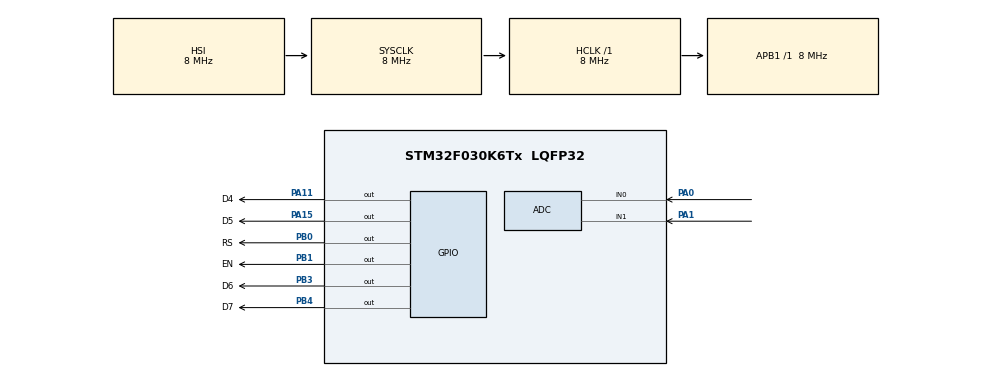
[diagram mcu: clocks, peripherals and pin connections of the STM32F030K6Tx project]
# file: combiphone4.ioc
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ADC.ContinuousConvMode=ENABLE
ADC.DMAContinuousRequests=DISABLE
ADC.EOCSelection=ADC_EOC_SINGLE_CONV
ADC.SamplingTime=ADC_SAMPLETIME_239CYCLES_5
Dma.ADC.0.Direction=DMA_PERIPH_TO_MEMORY
Dma.ADC.0.Instance=DMA1_Channel1
Dma.ADC.0.MemDataAlignment=DMA_MDATAALIGN_HALFWORD
Dma.ADC.0.MemInc=DMA_MINC_ENABLE
Dma.ADC.0.Mode=DMA_CIRCULAR
Dma.ADC.0.PeriphDataAlignment=DMA_PDATAALIGN_HALFWORD
Dma.ADC.0.PeriphInc=DMA_PINC_DISABLE
Dma.ADC.0.Priority=DMA_PRIORITY_HIGH
Dma.Request0=ADC
Mcu.Family=STM32F0
Mcu.Name=STM32F030K6Tx
Mcu.Package=LQFP32
NVIC.DMA1_Channel1_IRQn=true\:0\:0\:false\:false\:true\:false\:true\:true
PA0.Signal=SharedAnalog_PA0
PA1.Signal=SharedAnalog_PA1
PA11.GPIO_Label=D4
PA11.Signal=GPIO_Output
PA13.Mode=Serial_Wire
PA13.Signal=SYS_SWDIO
PA14.Mode=Serial_Wire
PA14.Signal=SYS_SWCLK
PA15.GPIO_Label=D5
PA15.Signal=GPIO_Output
PB0.GPIO_Label=RS
PB0.Signal=GPIO_Output
PB1.GPIO_Label=EN
PB1.Signal=GPIO_Output
PB3.GPIO_Label=D6
PB3.Signal=GPIO_Output
PB4.GPIO_Label=D7
PB4.Signal=GPIO_Output
PF0-OSC_IN.Mode=HSE-External-Oscillator
PF0-OSC_IN.Signal=RCC_OSC_IN
PF1-OSC_OUT.Mode=HSE-External-Oscillator
PF1-OSC_OUT.Signal=RCC_OSC_OUT
ProjectManager.HeapSize=0x200
ProjectManager.StackSize=0x400
ProjectManager.TargetToolchain=STM32CubeIDE
RCC.AHBFreq_Value=8000000
RCC.APB1Freq_Value=8000000
RCC.APB1TimFreq_Value=8000000
RCC.HCLKFreq_Value=8000000
RCC.SYSCLKFreq_VALUE=8000000
SH.SharedAnalog_PA0.0=GPIO_Analog
SH.SharedAnalog_PA0.1=ADC_IN0,IN0
SH.SharedAnalog_PA1.0=GPIO_Analog
SH.SharedAnalog_PA1.1=ADC_IN1,IN1
board=custom

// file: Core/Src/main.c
/* USER CODE BEGIN Header */
/**
 ******************************************************************************
 * @file           : main.c
 * @brief          : Main program body
 ******************************************************************************
 * @attention
 *
 * Copyright (c) 2025 STMicroelectronics.
 * All rights reserved.
 *
 * This software is licensed under terms that can be found in the LICENSE file
 * in the root directory of this software component.
 * If no LICENSE file comes with this software, it is provided AS-IS.
 *
 ******************************************************************************
 */
/* USER CODE END Header */
#include "main.h"

/* USER CODE BEGIN Includes */
#include <stdio.h>
#include <string.h>
/* USER CODE END Includes */

/* USER CODE BEGIN PD */
#define CHANNELS                2               // number of ADC channels scanned (PA0, PA1)
#define SAMPLES_PER_CHANNEL     32              // total samples per channel per full buffer (must be even)
#define ADC_MAX                 4095.0f         // 12-bit ADC
#define VREF                    3.3f

#define BUFFER_LENGTH           (CHANNELS * SAMPLES_PER_CHANNEL)  // DMA buffer length (half = BUFFER_LENGTH/2)
#if (SAMPLES_PER_CHANNEL % 2) != 0
#error "SAMPLES_PER_CHANNEL must be even for half-buffer processing"
#endif
/* USER CODE END PD */

ADC_HandleTypeDef hadc;
DMA_HandleTypeDef hdma_adc;

/* USER CODE BEGIN PV */

static uint16_t adc_buffer[BUFFER_LENGTH]; // DMA circular buffer (16-bit words)
volatile float adc_voltage[CHANNELS]; // latest computed voltages (after calibration)
volatile uint8_t adc_data_ready = 0;

volatile uint16_t adc_raw[2];

/* Simple linear calibration placeholders (per-channel) */
static float cal_gain[CHANNELS] = { 1.0f, 1.0f };   // multiply
static float cal_offset[CHANNELS] = { 0.0f, 0.0f };   // add (volts)

extern ADC_HandleTypeDef hadc;
extern DMA_HandleTypeDef hdma_adc;

/* USER CODE END PV */

void SystemClock_Config(void);
static void MX_GPIO_Init(void);
static void MX_DMA_Init(void);
static void MX_ADC_Init(void);
/* USER CODE BEGIN PFP */
void LCD_Init(void);
void LCD_Clear(void);
void LCD_Send_String(char *str);
void LCD_SendCmd(uint8_t cmd);
void LCD_SendData(uint8_t data);
void LCD_DrawBar(uint8_t row, uint8_t value);
void LCD_LoadCustomChars(void);

static void process_adc_half(uint32_t start_index, uint32_t length);
void start_adc_dma_processing(void);

void LCD_PrintFloat(uint8_t row, float val);
uint8_t map_voltage(float v, float max_v);
/* USER CODE END PFP */

int main(void) {

	/* MCU Configuration--------------------------------------------------------*/

	/* Reset of all peripherals, Initializes the Flash interface and the Systick. */
	HAL_Init();

	/* Configure the system clock */
	SystemClock_Config();

	/* Initialize all configured peripherals */
	MX_GPIO_Init();
	MX_DMA_Init();
	MX_ADC_Init();
	/* USER CODE BEGIN 2 */

	LCD_Init();
	LCD_LoadCustomChars();
	HAL_Delay(10);

	HAL_ADC_Start_DMA(&hadc, (uint32_t*) adc_raw, 2);

//	start_adc_dma_processing();
//     LCD_Send_String("Hello World!");
//     HAL_Delay(2000);
//
//     LCD_Clear();
//     LCD_Send_String("STM32F030K6");
//     HAL_Delay(2000);
//
//     LCD_Clear();
//     LCD_Send_String("LCD OK!");

	/* USER CODE END 2 */

	/* Infinite loop */
	/* USER CODE BEGIN WHILE */
	while (1) {

		uint16_t raw0 = adc_raw[0];
		uint16_t raw1 = adc_raw[1];

		adc_voltage[0] = (raw0 * VREF) / ADC_MAX;
		adc_voltage[1] = (raw1 * VREF) / ADC_MAX;

		uint8_t bar0 = (uint8_t) ((adc_voltage[0] / VREF) * 99.0f);
		uint8_t bar1 = (uint8_t) ((adc_voltage[1] / VREF) * 99.0f);

		/* Display */
		LCD_DrawBar(0, bar0);
		LCD_DrawBar(1, bar1);

//		if (adc_data_ready) {
//			float v0 = adc_voltage[0];
//			float v1 = adc_voltage[1];
//
//			LCD_PrintFloat(0, v0);
//			LCD_PrintFloat(1, v1);
//
//			uint8_t bar1 = map_voltage(v0, 2.5f);
//			uint8_t bar2 = map_voltage(v1, 2.5f);
//
//			LCD_DrawBar(0, bar1);
//			LCD_DrawBar(1, bar2)
//		}

		HAL_Delay(50);   // slow enough to avoid flicker
		/* USER CODE END WHILE */

	}
}

void SystemClock_Config(void)
{
  RCC_OscInitTypeDef RCC_OscInitStruct = {0};
  RCC_ClkInitTypeDef RCC_ClkInitStruct = {0};

  /** Initializes the RCC Oscillators according to the specified parameters
  * in the RCC_OscInitTypeDef structure.
  */
  RCC_OscInitStruct.OscillatorType = RCC_OSCILLATORTYPE_HSI|RCC_OSCILLATORTYPE_HSI14;
  RCC_OscInitStruct.HSIState = RCC_HSI_ON;
  RCC_OscInitStruct.HSI14State = RCC_HSI14_ON;
  RCC_OscInitStruct.HSICalibrationValue = RCC_HSICALIBRATION_DEFAULT;
  RCC_OscInitStruct.HSI14CalibrationValue = 16;
  RCC_OscInitStruct.PLL.PLLState = RCC_PLL_NONE;
  if (HAL_RCC_OscConfig(&RCC_OscInitStruct) != HAL_OK)
  {
    Error_Handler();
  }

  /** Initializes the CPU, AHB and APB buses clocks
  */
  RCC_ClkInitStruct.ClockType = RCC_CLOCKTYPE_HCLK|RCC_CLOCKTYPE_SYSCLK
                              |RCC_CLOCKTYPE_PCLK1;
  RCC_ClkInitStruct.SYSCLKSource = RCC_SYSCLKSOURCE_HSI;
  RCC_ClkInitStruct.AHBCLKDivider = RCC_SYSCLK_DIV1;
  RCC_ClkInitStruct.APB1CLKDivider = RCC_HCLK_DIV1;

  if (HAL_RCC_ClockConfig(&RCC_ClkInitStruct, FLASH_LATENCY_0) != HAL_OK)
  {
    Error_Handler();
  }
}

static void MX_ADC_Init(void)
{

  ADC_ChannelConfTypeDef sConfig = {0};

  /** Configure the global features of the ADC (Clock, Resolution, Data Alignment and number of conversion)
  */
  hadc.Instance = ADC1;
  hadc.Init.ClockPrescaler = ADC_CLOCK_ASYNC_DIV1;
  hadc.Init.Resolution = ADC_RESOLUTION_12B;
  hadc.Init.DataAlign = ADC_DATAALIGN_RIGHT;
  hadc.Init.ScanConvMode = ADC_SCAN_DIRECTION_FORWARD;
  hadc.Init.EOCSelection = ADC_EOC_SINGLE_CONV;
  hadc.Init.LowPowerAutoWait = DISABLE;
  hadc.Init.LowPowerAutoPowerOff = DISABLE;
  hadc.Init.ContinuousConvMode = ENABLE;
  hadc.Init.DiscontinuousConvMode = DISABLE;
  hadc.Init.ExternalTrigConv = ADC_SOFTWARE_START;
  hadc.Init.ExternalTrigConvEdge = ADC_EXTERNALTRIGCONVEDGE_NONE;
  hadc.Init.DMAContinuousRequests = DISABLE;
  hadc.Init.Overrun = ADC_OVR_DATA_PRESERVED;
  if (HAL_ADC_Init(&hadc) != HAL_OK)
  {
    Error_Handler();
  }

  /** Configure for the selected ADC regular channel to be converted.
  */
  sConfig.Channel = ADC_CHANNEL_0;
  sConfig.Rank = ADC_RANK_CHANNEL_NUMBER;
  sConfig.SamplingTime = ADC_SAMPLETIME_239CYCLES_5;
  if (HAL_ADC_ConfigChannel(&hadc, &sConfig) != HAL_OK)
  {
    Error_Handler();
  }

  /** Configure for the selected ADC regular channel to be converted.
  */
  sConfig.Channel = ADC_CHANNEL_1;
  if (HAL_ADC_ConfigChannel(&hadc, &sConfig) != HAL_OK)
  {
    Error_Handler();
  }

}

static void MX_DMA_Init(void)
{

  /* DMA controller clock enable */
  __HAL_RCC_DMA1_CLK_ENABLE();

  /* DMA interrupt init */
  /* DMA1_Channel1_IRQn interrupt configuration */
//  HAL_NVIC_SetPriority(DMA1_Channel1_IRQn, 0, 0);
//  HAL_NVIC_EnableIRQ(DMA1_Channel1_IRQn);

}

static void MX_GPIO_Init(void)
{
  GPIO_InitTypeDef GPIO_InitStruct = {0};

  /* GPIO Ports Clock Enable */
  __HAL_RCC_GPIOF_CLK_ENABLE();
  __HAL_RCC_GPIOA_CLK_ENABLE();
  __HAL_RCC_GPIOB_CLK_ENABLE();

  /*Configure GPIO pin Output Level */
  HAL_GPIO_WritePin(GPIOB, RS_Pin|EN_Pin|D6_Pin|D7_Pin, GPIO_PIN_RESET);

  /*Configure GPIO pin Output Level */
  HAL_GPIO_WritePin(GPIOA, D4_Pin|D5_Pin, GPIO_PIN_RESET);

  /*Configure GPIO pins : RS_Pin EN_Pin D6_Pin D7_Pin */
  GPIO_InitStruct.Pin = RS_Pin|EN_Pin|D6_Pin|D7_Pin;
  GPIO_InitStruct.Mode = GPIO_MODE_OUTPUT_PP;
  GPIO_InitStruct.Pull = GPIO_NOPULL;
  GPIO_InitStruct.Speed = GPIO_SPEED_FREQ_LOW;
  HAL_GPIO_Init(GPIOB, &GPIO_InitStruct);

  /*Configure GPIO pins : D4_Pin D5_Pin */
  GPIO_InitStruct.Pin = D4_Pin|D5_Pin;
  GPIO_InitStruct.Mode = GPIO_MODE_OUTPUT_PP;
  GPIO_InitStruct.Pull = GPIO_NOPULL;
  GPIO_InitStruct.Speed = GPIO_SPEED_FREQ_LOW;
  HAL_GPIO_Init(GPIOA, &GPIO_InitStruct);

}

/* USER CODE BEGIN 4 */

void LCD_Enable(void) {
	HAL_GPIO_WritePin(GPIOB, EN_Pin, GPIO_PIN_SET);
	HAL_Delay(1);
	HAL_GPIO_WritePin(GPIOB, EN_Pin, GPIO_PIN_RESET);
	HAL_Delay(1);
}
void LCD_Send4Bits(uint8_t data) {
	HAL_GPIO_WritePin(GPIOA, D4_Pin,
			(data & 0x01) ? GPIO_PIN_SET : GPIO_PIN_RESET);
	HAL_GPIO_WritePin(GPIOA, D5_Pin,
			(data & 0x02) ? GPIO_PIN_SET : GPIO_PIN_RESET);
	HAL_GPIO_WritePin(GPIOB, D6_Pin,
			(data & 0x04) ? GPIO_PIN_SET : GPIO_PIN_RESET);
	HAL_GPIO_WritePin(GPIOB, D7_Pin,
			(data & 0x08) ? GPIO_PIN_SET : GPIO_PIN_RESET);
}

void LCD_SendCmd(uint8_t cmd) {
	HAL_GPIO_WritePin(GPIOB, RS_Pin, GPIO_PIN_RESET);

	LCD_Send4Bits(cmd >> 4);
	LCD_Enable();

	LCD_Send4Bits(cmd & 0x0F);
	LCD_Enable();
}
void LCD_SendData(uint8_t data) {
	HAL_GPIO_WritePin(GPIOB, RS_Pin, GPIO_PIN_SET);

	LCD_Send4Bits(data >> 4);
	LCD_Enable();

	LCD_Send4Bits(data & 0x0F);
	LCD_Enable();
}

void LCD_Init(void) {
	HAL_Delay(50);

	LCD_Send4Bits(0x03);
	LCD_Enable();
	HAL_Delay(5);

	LCD_Send4Bits(0x02);
	LCD_Enable();
	HAL_Delay(5);

	LCD_SendCmd(0x28); // 4-bit mode, 2 line
	LCD_SendCmd(0x0C); // display on, cursor off
	LCD_SendCmd(0x06); // auto-increment
	LCD_Clear();
}

void LCD_Clear(void) {
	LCD_SendCmd(0x01);
	HAL_Delay(2);
}

void LCD_Send_String(char *str) {
	while (*str)
		LCD_SendData(*str++);
}
//void LCD_DrawBar(uint8_t row, uint8_t value)
//{
//    if (value > 99) value = 99;
//
//    // Correct rounding
//    uint8_t filled = (value * 14 + 99) / 100;
//
//    if (filled > 14) filled = 14;
//    uint8_t empty = 14 - filled;
//
//    // Set cursor
//    if (row == 0) LCD_SendCmd(0x80);
//    else          LCD_SendCmd(0xC0);
//
//    // Draw filled
//    for (uint8_t i = 0; i < filled; i++)
//        LCD_SendData('#');
//
//    // Draw empty
//    for (uint8_t i = 0; i < empty; i++)
//        LCD_SendData(' ');
//
//    // Percentage (2 chars)
//    LCD_SendData((value / 10) + '0');
//    LCD_SendData((value % 10) + '0');
//}

void LCD_DrawBar(uint8_t row, uint8_t value) {
	if (value > 99)
		value = 99;

	uint8_t filled = (value * 14 + 99) / 100;
	if (filled > 14)
		filled = 14;

	uint8_t empty = 14 - filled;

	// Set cursor
	if (row == 0)
		LCD_SendCmd(0x80);
	else
		LCD_SendCmd(0xC0);

	// Filled (black blocks)
	for (uint8_t i = 0; i < filled; i++)
		LCD_SendData(0x00);       // custom block

	// Empty (just space)
	for (uint8_t i = 0; i < empty; i++)
		LCD_SendData(' ');

	// Percentage
	LCD_SendData((value / 10) + '0');
	LCD_SendData((value % 10) + '0');
}

void LCD_LoadCustomChars(void) {
	uint8_t fullBlock[8] = { 0b11111, 0b11111, 0b11111, 0b11111, 0b11111,
			0b11111, 0b11111, 0b11111 };

	// Select CGRAM address 0
	LCD_SendCmd(0x40);

	for (int i = 0; i < 8; i++)
		LCD_SendData(fullBlock[i]);

	// Return to DDRAM
	LCD_SendCmd(0x80);
}

void LCD_PrintFloat(uint8_t row, float val)
{
    char buf[16];

    // Convert float into integer + fraction (3 decimals)
    int scaled = (int)(val * 1000);     // example: 12.345 → 12345
    int int_part = scaled / 1000;       // 12
    int frac_part = scaled % 1000;      // 345

    // Generate final string
    sprintf(buf, "V:%d.%03d", int_part, frac_part);

    // Select row
    if (row == 0)
        LCD_SendCmd(0x80);     // First line
    else
        LCD_SendCmd(0xC0);     // Second line

    // Send to LCD
    LCD_Send_String(buf);
}

/* ---------------- Callbacks used by HAL ----------------
 HAL will call these functions when ADC-DMA reaches half or full transfer.
 Make sure CubeMX has DMA interrupts enabled for ADC DMA.
 ------------------------------------------------------ */
void HAL_ADC_ConvHalfCpltCallback(ADC_HandleTypeDef *hadc_ptr) {
	/* Process first half of the circular buffer */
	/* start_index = 0, length = BUFFER_LENGTH/2 samples (interleaved channels) */
	(void) hadc_ptr;
	process_adc_half(0, BUFFER_LENGTH / 2);
}

void HAL_ADC_ConvCpltCallback(ADC_HandleTypeDef *hadc_ptr) {
	/* Process second half of the circular buffer */
	/* start_index = BUFFER_LENGTH/2, length = BUFFER_LENGTH/2 samples */
	(void) hadc_ptr;
	process_adc_half(BUFFER_LENGTH / 2, BUFFER_LENGTH / 2);
}

/* ---------------- Process one half of the circular buffer ------------
 start_index: index in adc_buffer where this half begins (0 or BUFFER_LENGTH/2)
 length: number of half-buffer elements (should be BUFFER_LENGTH/2)
 Buffer layout (interleaved): [ch0_sample0, ch1_sample0, ch0_sample1, ch1_sample1, ...]
 ------------------------------------------------------------------- */
static void process_adc_half(uint32_t start_index, uint32_t length) {
	// length must be multiple of CHANNELS
	uint32_t samples_per_channel_in_half = length / CHANNELS;
	uint32_t sum[CHANNELS];
	memset(sum, 0, sizeof(sum));

	for (uint32_t i = 0; i < samples_per_channel_in_half; ++i) {
		for (uint32_t ch = 0; ch < CHANNELS; ++ch) {
			uint32_t idx = start_index + i * CHANNELS + ch;
			sum[ch] += adc_buffer[idx]; // safe: adc_buffer elements are 16-bit
		}
	}

	// compute average for this half and convert to voltage
	for (uint32_t ch = 0; ch < CHANNELS; ++ch) {
		float avg_raw = (float) sum[ch] / (float) samples_per_channel_in_half; // raw ADC mean
		float voltage = (avg_raw / ADC_MAX) * VREF;
		// apply simple linear calibration
		voltage = voltage * cal_gain[ch] + cal_offset[ch];
		// store the averaged value (this will be updated twice per full buffer cycle)
		adc_voltage[ch] = voltage;
	}

	// signal that new data is ready (main loop can read adc_voltage[])
	adc_data_ready = 1;
}

/* ---------------- Helper to start ADC + DMA ---------------- */
void start_adc_dma_processing(void) {
	// Clear flags & buffer (optional)

//	HAL_ADC_Stop(&hadc);
//	HAL_ADC_Stop_DMA(&hadc);

	memset((void*) adc_buffer, 0, sizeof(adc_buffer));
	adc_data_ready = 0;

	// Start ADC in DMA circular mode: number of uint32_t words = BUFFER_LENGTH
	// HAL expects a pointer to uint32_t but our buffer is 16-bit sized; casting is correct.
	if (HAL_ADC_Start_DMA(&hadc, (uint32_t*) adc_buffer, BUFFER_LENGTH)
			!= HAL_OK) {
		// Handle error
		Error_Handler();
	}
}

uint8_t map_voltage(float v, float max_v)
{
//    int scaled = (int)((v / max_v) * 99.0f);
	int scaled = (int)((v * 99.0f / max_v) + 0.5f);
    if (scaled < 0) scaled = 0;
    if (scaled > 99) scaled = 99;
    return (uint8_t)scaled;
}

/* USER CODE END 4 */

void Error_Handler(void)
{
	__disable_irq();
	while (1) {
	}
}
